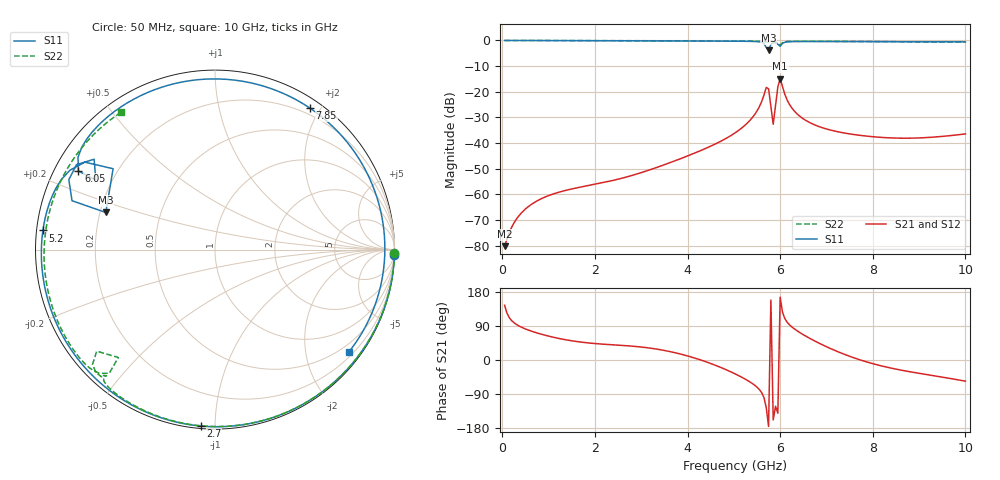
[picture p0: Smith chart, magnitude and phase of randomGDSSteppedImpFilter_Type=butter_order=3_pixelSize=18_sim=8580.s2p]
! freq	dB(S11)	phase(S11)	dB(S12)	phase(S12)
!  dB(S21)	phase(S21)	dB(S22)	phase(S22)
!S-par simulation data
#  GHz  S  DB  R 50
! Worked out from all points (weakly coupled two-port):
!   200 points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, 50 MHz to 10 GHz, reference 50 ohm
!   highest |S21| = -14.89 dB at 6 GHz (marker M1); lowest = -80.2 dB at 50 MHz (marker M2)
!   lowest |S11| = -3.8 dB at 5.75 GHz (marker M3), VSWR 4.60, Z = 11.2 + j7.86 ohm
!   |S11| at or under -10 dB: nowhere
!   |S22| runs from -1.9 to 0.0 dB; largest |S21 - S12| = 0
!   S11 on the Smith chart (normalised r, x): 50 MHz: 0, -64; 2.7 GHz: 0.01, -0.92; 5.2 GHz: 0.02, +0.06; 6.05 GHz: 0.07, +0.27; 7.85 GHz: 0.12, +1.87; 10 GHz: 0.30, -2.91
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0.05  -0.00 -1.8  -80.22 144.5  -80.22 144.5  -0.00 -1.2
0.3  -0.01 -10.8  -69.80 94.2  -69.80 94.2  -0.00 -7.3
0.6  -0.02 -21.5  -64.28 77.3  -64.28 77.3  -0.01 -14.6
1.75  -0.08 -61.8  -56.96 46.5  -56.96 46.5  -0.05 -41.9
2.7  -0.12 -94.6  -53.16 37.5  -53.16 37.5  -0.08 -63.8
3.4  -0.16 -118.7  -49.10 27.4  -49.10 27.4  -0.11 -79.5
4.3  -0.22 -150.8  -42.82 -0.6  -42.82 -0.6  -0.14 -99.2
5.05  -0.29 -179.9  -35.75 -37.9  -35.75 -37.9  -0.18 -115.6
5.2  -0.31 173.6  -33.70 -47.4  -33.70 -47.4  -0.19 -118.9
5.65  -1.17 146.1  -21.31 -98.9  -21.31 -98.9  -0.37 -130.3
5.75  -3.84 161.2  -18.85 -175.3  -18.85 -175.3  -0.66 -130.7
5.85  -0.89 154.4  -32.68 -158.3  -32.68 -158.3  -0.42 -134.1
5.95  -1.51 143.2  -18.11 -140.4  -18.11 -140.4  -1.22 -139.4
6  -2.28 149.7  -14.89 165.8  -14.89 165.8  -1.86 -131.9
6.05  -1.13 150.1  -17.91 126.5  -17.91 126.5  -0.85 -130.5
6.3  -0.45 133.5  -27.40 82.7  -27.40 82.7  -0.31 -139.7
6.7  -0.42 113.3  -32.56 53.1  -32.56 53.1  -0.31 -149.4
7.25  -0.44 86.0  -35.62 21.7  -35.62 21.7  -0.35 -162.1
7.85  -0.45 56.1  -37.27 -4.4  -37.27 -4.4  -0.41 -176.3
8.35  -0.46 31.8  -37.97 -20.2  -37.97 -20.2  -0.47 171.3
9.1  -0.48 -2.1  -37.93 -37.2  -37.93 -37.2  -0.55 151.2
10  -0.55 -37.6  -36.44 -55.8  -36.44 -55.8  -0.66 124.2
